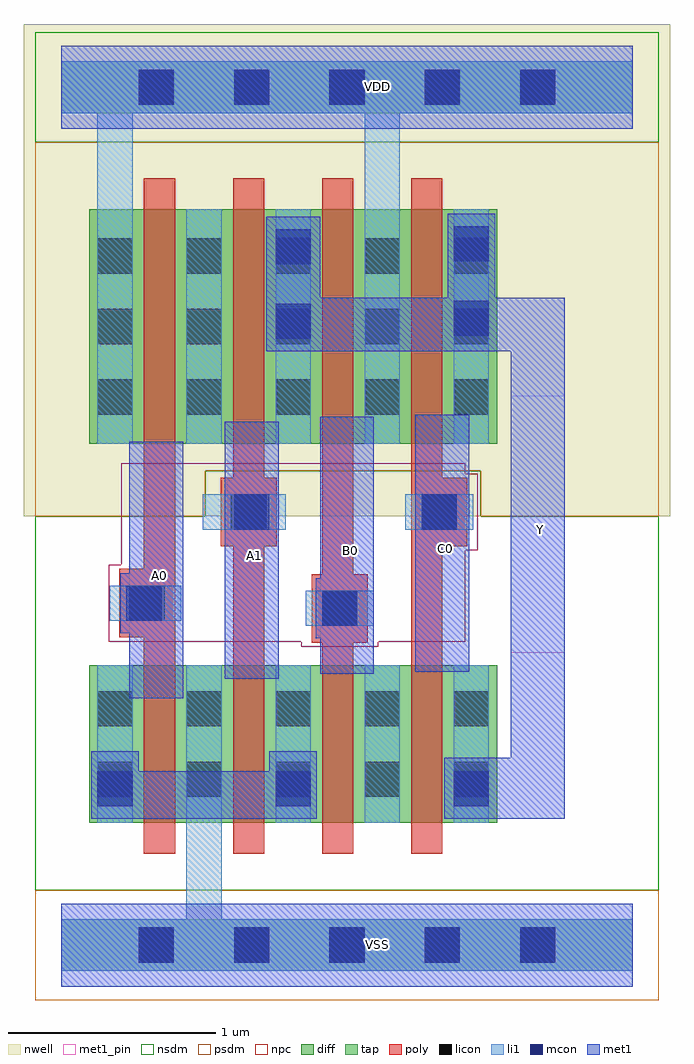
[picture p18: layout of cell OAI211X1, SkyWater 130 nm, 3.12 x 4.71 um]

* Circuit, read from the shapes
.subckt OAI211X1 A0 A1 B0 C0 VDD VSS Y
XM1 VSS A0 n1 VSS sky130_fd_pr__nfet_01v8 w=0.76 l=0.15
XM2 n1 A1 VSS VSS sky130_fd_pr__nfet_01v8 w=0.76 l=0.15
XM3 n2 B0 n1 VSS sky130_fd_pr__nfet_01v8 w=0.76 l=0.15
XM4 Y C0 n2 VSS sky130_fd_pr__nfet_01v8 w=0.76 l=0.15
XM5 n3 A0 VDD VDD sky130_fd_pr__pfet_01v8 w=1.13 l=0.15
XM6 Y A1 n3 VDD sky130_fd_pr__pfet_01v8 w=1.13 l=0.15
XM7 VDD B0 Y VDD sky130_fd_pr__pfet_01v8 w=1.13 l=0.15
XM8 Y C0 VDD VDD sky130_fd_pr__pfet_01v8 w=1.13 l=0.15
.ends

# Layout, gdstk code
import gdstk
lib = gdstk.Library(unit=1e-6, precision=1e-09)
def R(c, l, rs):  # rectangles x0, y0, x1, y1
    for r in rs: c.add(gdstk.rectangle(r[:2], r[2:], *l))
def A(c, l, x, y, w, h, nx, ny, dx, dy):  # array of equal rectangles
    R(c, l, [(x+i*dx, y+j*dy, x+i*dx+w, y+j*dy+h) for i in range(nx) for j in range(ny)])
def P(c, l, *ps):  # polygons
    for p in ps: c.add(gdstk.Polygon(p, *l))
nwell = (64, 20)
diff = (65, 20)
tap = (65, 44)
poly = (66, 20)
licon = (66, 44)
li1 = (67, 20)
mcon = (67, 44)
met1_pin = (68, 16)
met1 = (68, 20)
nsdm = (93, 44)
psdm = (94, 20)
npc = (95, 20)

licondiff_c_cdns_7515547 = lib.new_cell('LICONDIFF_C_CDNS_751554744755')
R(licondiff_c_cdns_7515547, diff, [(-0.125,-0.145,0.125,0.145)])
R(licondiff_c_cdns_7515547, licon, [(-0.085,-0.085,0.085,0.085), (-0.085,-0.085,0.085,0.085)])

pyl1con_c_cdns_751554744 = lib.new_cell('PYL1CON_C_CDNS_751554744751')
R(pyl1con_c_cdns_751554744, poly, [(-0.135,-0.165,0.135,0.165)])
R(pyl1con_c_cdns_751554744, licon, [(-0.085,-0.085,0.085,0.085)])
R(pyl1con_c_cdns_751554744, npc, [(-0.185,-0.185,0.185,0.185)])

l1m1_c_cdns_751554744750 = lib.new_cell('L1M1_C_CDNS_751554744750$$8')
R(l1m1_c_cdns_751554744750, li1, [(-0.085,-0.165,0.085,0.165)])
R(l1m1_c_cdns_751554744750, mcon, [(-0.085,-0.085,0.085,0.085)])
R(l1m1_c_cdns_751554744750, met1, [(-0.115,-0.145,0.115,0.145)])

c_l1m1_c_cdns_751554744750 = lib.new_cell('L1M1_C_CDNS_751554744750$$7')
R(c_l1m1_c_cdns_751554744750, li1, [(-0.085,-0.345,0.085,0.345)])
R(c_l1m1_c_cdns_751554744750, mcon, [(-0.085,-0.265,0.085,-0.095), (-0.085,0.095,0.085,0.265)])
R(c_l1m1_c_cdns_751554744750, met1, [(-0.115,-0.325,0.115,0.325)])

c_l1m1_c_cdns_751554744750_ = lib.new_cell('L1M1_C_CDNS_751554744750$$9')
R(c_l1m1_c_cdns_751554744750_, li1, [(-0.165,-0.085,0.165,0.085)])
R(c_l1m1_c_cdns_751554744750_, mcon, [(-0.085,-0.085,0.085,0.085)])
R(c_l1m1_c_cdns_751554744750_, met1, [(-0.115,-0.145,0.115,0.145)])

oai211x1 = lib.new_cell('OAI211X1')
R(oai211x1, nwell, [(-0.18,2.07,2.94,4.445)])
R(oai211x1, diff, [(0.135,0.59,2.105,1.35), (0.135,2.42,2.105,3.55)])
A(oai211x1, poly, 0.4, 0.44, 0.15, 3.26, 4, 1, 0.43, 0)
A(oai211x1, licon, 0.375, -0.085, 0.17, 0.17, 5, 2, 0.46, 4.14)
A(oai211x1, licon, 0.175, 0.715, 0.17, 0.17, 3, 2, 0.43, 0.34)
A(oai211x1, licon, 0.175, 2.56, 0.17, 0.17, 1, 3, 0, 0.34)
A(oai211x1, licon, 1.035, 2.56, 0.17, 0.17, 3, 3, 0.43, 0.34)
R(oai211x1, licon, [(1.895,0.715,2.065,0.885), (1.895,1.055,2.065,1.225)])
A(oai211x1, li1, 0.175, 0.59, 0.17, 0.76, 3, 1, 0.86, 0)
R(oai211x1, li1, [(1.035,2.42,1.205,3.55), (1.895,2.42,2.065,3.55)])
P(oai211x1, li1, [(2.76,0.125),(0.775,0.125),(0.775,1.35),(0.605,1.35),(0.605,0.125),(0,0.125),(0,-0.125),(2.76,-0.125)],
  [(2.76,4.265),(0,4.265),(0,4.015),(0.175,4.015),(0.175,2.42),(0.345,2.42),(0.345,4.015),(1.465,4.015),(1.465,2.42),(1.635,2.42),(1.635,4.015),(2.76,4.015)])
A(oai211x1, mcon, 0.375, -0.085, 0.17, 0.17, 5, 2, 0.46, 4.14)
R(oai211x1, met1_pin, [(0.33,1.19,0.59,2.43), (0.79,1.285,1.05,2.525), (1.25,1.31,1.51,2.55), (1.71,1.32,1.97,2.56), (2.17,1.41,2.43,2.65)])
P(oai211x1, met1, [(2.43,3.125),(1.25,3.125),(1.25,3.515),(0.99,3.515),(0.99,2.865),(2.17,2.865),(2.17,0.905),(1.85,0.905),(1.85,0.61),(2.43,0.61)])
R(oai211x1, nsdm, [(-0.125,3.875,2.885,4.405)])
P(oai211x1, nsdm, [(2.885,2.07),(2.025,2.07),(2.025,2.29),(0.695,2.29),(0.695,2.07),(-0.125,2.07),(-0.125,0.265),(2.885,0.265)])
R(oai211x1, psdm, [(-0.125,-0.265,2.885,0.265)])
P(oai211x1, psdm, [(2.885,3.875),(-0.125,3.875),(-0.125,2.07),(0.695,2.07),(0.695,2.29),(2.025,2.29),(2.025,2.07),(2.885,2.07)])
R(oai211x1, npc, [(0.29,1.465,1.95,2.325)])
oai211x1.add(gdstk.FlexPath([(0.69,2.42),(0.69,3.55)], 0.17, ends="flush", simple_path=True, layer=67, datatype=20))  # li1
oai211x1.add(gdstk.FlexPath([(1.55,0.59),(1.55,1.35)], 0.17, ends="flush", simple_path=True, layer=67, datatype=20))  # li1
oai211x1.add(gdstk.FlexPath([(0.685,2.09),(0.85,2.09)], 0.17, ends=(0, 0.085), simple_path=True, layer=67, datatype=20))  # li1
oai211x1.add(gdstk.FlexPath([(0.33,1.65),(0.495,1.65)], 0.17, ends=(0, 0.085), simple_path=True, layer=67, datatype=20))  # li1
oai211x1.add(gdstk.FlexPath([(0,0),(2.76,0)], 0.25, ends="flush", simple_path=True, layer=65, datatype=44))  # tap
oai211x1.add(gdstk.FlexPath([(0,4.14),(2.76,4.14)], 0.25, ends="flush", simple_path=True, layer=65, datatype=44))  # tap
oai211x1.add(gdstk.FlexPath([(0,4.14),(2.76,4.14)], 0.4, ends="flush", simple_path=True, layer=68, datatype=16))  # met1_pin
oai211x1.add(gdstk.FlexPath([(0,0),(2.76,0)], 0.4, ends="flush", simple_path=True, layer=68, datatype=16))  # met1_pin
oai211x1.add(gdstk.FlexPath([(0,4.14),(2.76,4.14)], 0.4, ends="flush", simple_path=True, layer=68, datatype=20))  # met1
oai211x1.add(gdstk.FlexPath([(1.84,1.32),(1.84,2.56)], 0.26, ends="flush", simple_path=True, layer=68, datatype=20))  # met1
oai211x1.add(gdstk.FlexPath([(1.12,0.935),(1.12,0.725),(0.26,0.725),(0.26,0.935)], 0.23, ends="flush", simple_path=True, layer=68, datatype=20))  # met1
oai211x1.add(gdstk.FlexPath([(0,0),(2.76,0)], 0.4, ends="flush", simple_path=True, layer=68, datatype=20))  # met1
oai211x1.add(gdstk.FlexPath([(0.92,1.285),(0.92,2.525)], 0.26, ends="flush", simple_path=True, layer=68, datatype=20))  # met1
oai211x1.add(gdstk.FlexPath([(1.38,1.31),(1.38,2.55)], 0.26, ends="flush", simple_path=True, layer=68, datatype=20))  # met1
oai211x1.add(gdstk.FlexPath([(0.46,1.19),(0.46,2.43)], 0.26, ends="flush", simple_path=True, layer=68, datatype=20))  # met1
oai211x1.add(gdstk.Reference(licondiff_c_cdns_7515547, (0.69,3.325)))
oai211x1.add(gdstk.Reference(licondiff_c_cdns_7515547, (0.69,2.645)))
oai211x1.add(gdstk.Reference(licondiff_c_cdns_7515547, (1.55,0.8)))
oai211x1.add(gdstk.Reference(licondiff_c_cdns_7515547, (1.55,1.14)))
oai211x1.add(gdstk.Reference(licondiff_c_cdns_7515547, (0.69,2.985)))
oai211x1.add(gdstk.Reference(pyl1con_c_cdns_751554744, (0.905,2.09), x_reflection=True))
oai211x1.add(gdstk.Reference(pyl1con_c_cdns_751554744, (0.415,1.65), x_reflection=True))
oai211x1.add(gdstk.Reference(pyl1con_c_cdns_751554744, (1.345,1.625), x_reflection=True))
oai211x1.add(gdstk.Reference(pyl1con_c_cdns_751554744, (1.825,2.09), x_reflection=True))
oai211x1.add(gdstk.Reference(l1m1_c_cdns_751554744750, (0.26,0.755)))
oai211x1.add(gdstk.Reference(l1m1_c_cdns_751554744750, (1.98,0.755)))
oai211x1.add(gdstk.Reference(l1m1_c_cdns_751554744750, (1.12,0.755)))
oai211x1.add(gdstk.Reference(c_l1m1_c_cdns_751554744750, (1.98,3.205)))
oai211x1.add(gdstk.Reference(c_l1m1_c_cdns_751554744750, (1.12,3.19)))
oai211x1.add(gdstk.Reference(c_l1m1_c_cdns_751554744750_, (0.4,1.65), x_reflection=True))
oai211x1.add(gdstk.Reference(c_l1m1_c_cdns_751554744750_, (1.825,2.09), x_reflection=True))
oai211x1.add(gdstk.Reference(c_l1m1_c_cdns_751554744750_, (0.92,2.09), x_reflection=True))
oai211x1.add(gdstk.Reference(c_l1m1_c_cdns_751554744750_, (1.345,1.625), x_reflection=True))
oai211x1.add(gdstk.Label('VDD', (1.525,4.145), layer=68, texttype=5))
oai211x1.add(gdstk.Label('A1', (0.935,1.88), layer=68, texttype=5))
oai211x1.add(gdstk.Label('Y', (2.315,2.005), layer=68, texttype=5))
oai211x1.add(gdstk.Label('VSS', (1.525,0.005), layer=68, texttype=5))
oai211x1.add(gdstk.Label('VDD', (1.525,4.145), layer=68, texttype=5))
oai211x1.add(gdstk.Label('C0', (1.855,1.915), layer=68, texttype=5))
oai211x1.add(gdstk.Label('A0', (0.475,1.785), layer=68, texttype=5))
oai211x1.add(gdstk.Label('B0', (1.395,1.905), layer=68, texttype=5))

lib.write_gds('OAI211X1.gds')
